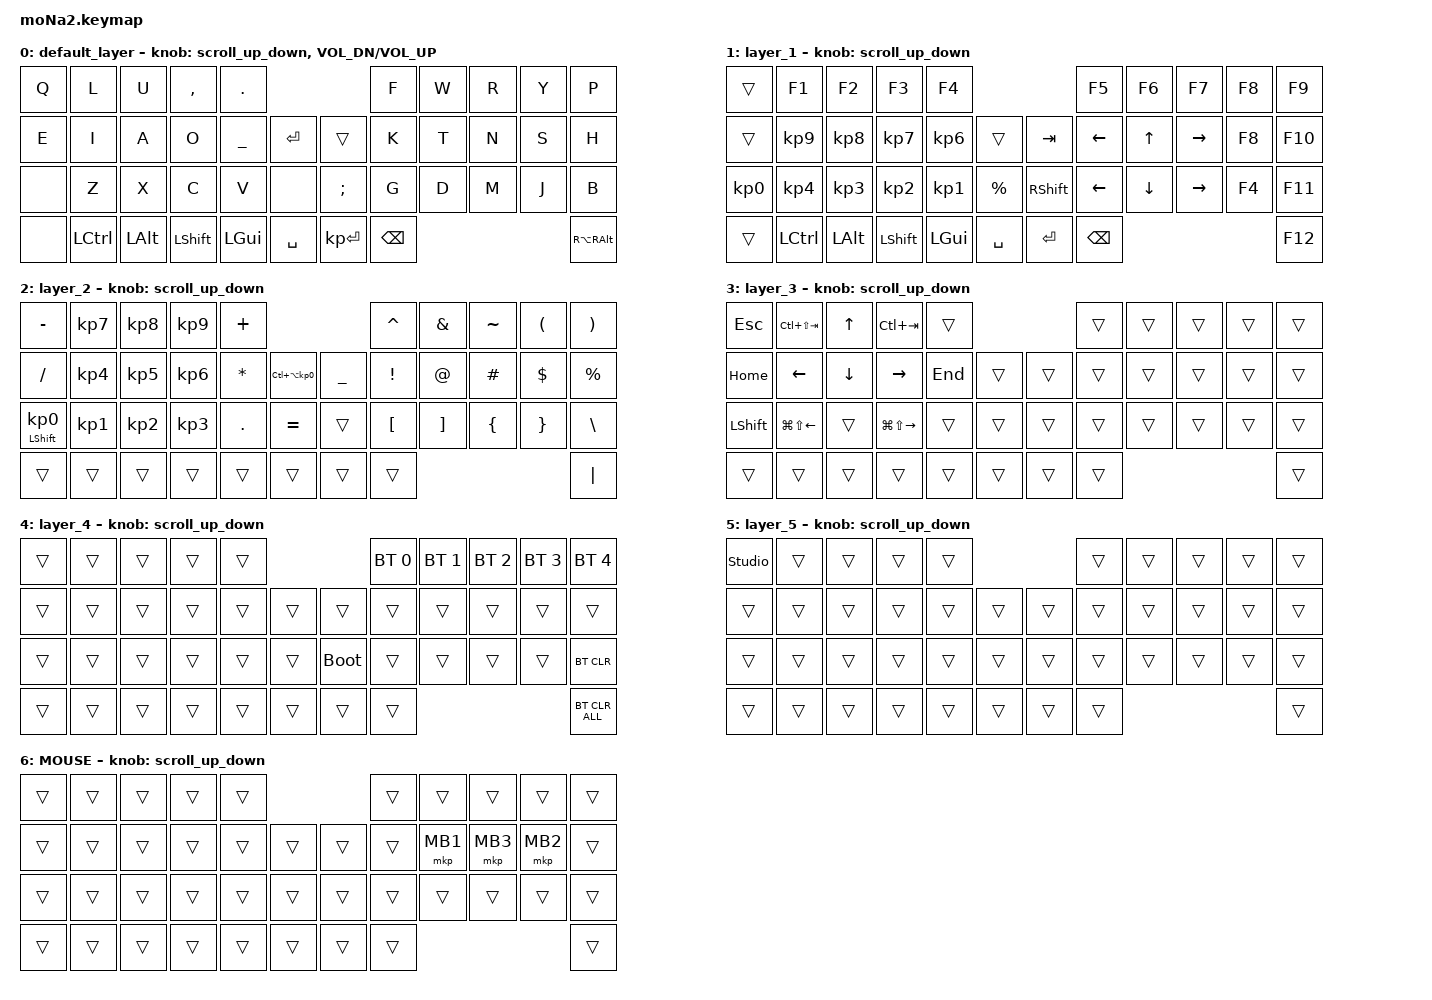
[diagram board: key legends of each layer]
#include <behaviors.dtsi>
#include <dt-bindings/zmk/bt.h>
#include <dt-bindings/zmk/keys.h>
#include <dt-bindings/zmk/pointing.h>
#include <dt-bindings/zmk/pointing.h>

#define ZMK_POINTING_DEFAULT_SCRL_VAL 100
#define MOUSE 6

&mt {
    flavor = "balanced";
    quick-tap-ms = <0>;
};

/ {
    combos { compatible = "zmk,combos"; };

    macros {
        to_layer_0: to_layer_0 {
            compatible = "zmk,behavior-macro-one-param";
            #binding-cells = <1>;
            bindings = <&to 0 &macro_param_1to1 &kp MACRO_PLACEHOLDER>;
            label = "TO_LAYER_0";
        };
    };

    behaviors {
        lt_to_layer_0: lt_to_layer_0 {
            compatible = "zmk,behavior-hold-tap";
            label = "LAYER_TAP_TO_0";
            bindings = <&mo>, <&to_layer_0>;

            #binding-cells = <2>;
            tapping-term-ms = <200>;
        };

        scroll_up_down: behavior_sensor_rotate_mouse_wheel_up_down {
            compatible = "zmk,behavior-sensor-rotate";
            #sensor-binding-cells = <0>;
            bindings = <&msc SCRL_UP>, <&msc SCRL_DOWN>;

            tap-ms = <20>;
        };
    };

    keymap {
        compatible = "zmk,keymap";

        default_layer {
            bindings = <
&kp Q  &kp L      &kp U         &kp COMMA  &kp PERIOD                                 &kp F          &kp W  &kp R  &kp Y  &kp P
&kp E  &kp I      &kp A         &kp O      &kp UNDER     &kp RETURN    &trans         &kp K          &kp T  &kp N  &kp S  &kp H
&none  &kp Z      &kp X         &kp C      &kp V         &none         &kp SEMICOLON  &kp G          &kp D  &kp M  &kp J  &kp B
&none  &kp LCTRL  &kp LEFT_ALT  &kp LSHFT  &kp LEFT_GUI  &kp SPACE     &kp KP_ENTER   &kp BACKSPACE                       &kp RA(RIGHT_ALT)
            >;

            sensor-bindings =
                <&scroll_up_down>,
                <&inc_dec_kp C_VOL_DN C_VOL_UP>;
        };

        layer_1 {
            bindings = <
&trans     &kp F1     &kp F2        &kp F3          &kp F4                                      &kp F5          &kp F6          &kp F7           &kp F8  &kp F9
&trans     &kp KP_N9  &kp KP_N8     &kp KP_N7       &kp KP_N6     &trans       &kp TAB          &kp LEFT        &kp UP_ARROW    &kp RIGHT        &kp F8  &kp F10
&kp KP_N0  &kp KP_N4  &kp KP_N3     &kp KP_N2       &kp KP_N1     &kp PRCNT    &kp RIGHT_SHIFT  &kp LEFT_ARROW  &kp DOWN_ARROW  &kp RIGHT_ARROW  &kp F4  &kp F11
&trans     &kp LCTRL  &kp LEFT_ALT  &kp LEFT_SHIFT  &kp LEFT_GUI  &kp SPACE    &kp ENTER        &kp BACKSPACE                                            &kp F12
            >;

            sensor-bindings = <&scroll_up_down>;
        };

        layer_2 {
            bindings = <
&kp MINUS                   &kp KP_NUMBER_7  &kp KP_NUMBER_8  &kp KP_NUMBER_9  &kp PLUS                                                 &kp CARET         &kp AMPERSAND      &kp TILDE       &kp LEFT_PARENTHESIS  &kp RIGHT_PARENTHESIS
&kp SLASH                   &kp KP_NUMBER_4  &kp KP_NUMBER_5  &kp KP_NUMBER_6  &kp ASTERISK  &kp LC(LA(KP_NUMBER_0))    &kp UNDERSCORE  &kp EXCLAMATION   &kp AT_SIGN        &kp HASH        &kp DOLLAR            &kp PERCENT
&mt LEFT_SHIFT KP_NUMBER_0  &kp KP_NUMBER_1  &kp KP_NUMBER_2  &kp KP_NUMBER_3  &kp PERIOD    &kp EQUAL                  &trans          &kp LEFT_BRACKET  &kp RIGHT_BRACKET  &kp LEFT_BRACE  &kp RIGHT_BRACE       &kp BACKSLASH
&trans                      &trans           &trans           &trans           &trans        &trans                     &trans          &trans                                                                     &kp PIPE
            >;

            sensor-bindings = <&scroll_up_down>;
        };

        layer_3 {
            bindings = <
&kp ESCAPE      &kp LC(LS(TAB))         &kp UP_ARROW    &kp LC(TAB)              &trans                     &trans  &trans  &trans  &trans  &trans
&kp HOME        &kp LEFT_ARROW          &kp DOWN_ARROW  &kp RIGHT_ARROW          &kp END  &trans    &trans  &trans  &trans  &trans  &trans  &trans
&kp LEFT_SHIFT  &kp LG(LS(LEFT_ARROW))  &trans          &kp LG(LS(RIGHT_ARROW))  &trans   &trans    &trans  &trans  &trans  &trans  &trans  &trans
&trans          &trans                  &trans          &trans                   &trans   &trans    &trans  &trans                          &trans
            >;

            sensor-bindings = <&scroll_up_down>;
        };

        layer_4 {
            bindings = <
&trans  &trans  &trans  &trans  &trans                         &bt BT_SEL 0  &bt BT_SEL 1  &bt BT_SEL 2  &bt BT_SEL 3  &bt BT_SEL 4
&trans  &trans  &trans  &trans  &trans  &trans    &trans       &trans        &trans        &trans        &trans        &trans
&trans  &trans  &trans  &trans  &trans  &trans    &bootloader  &trans        &trans        &trans        &trans        &bt BT_CLR
&trans  &trans  &trans  &trans  &trans  &trans    &trans       &trans                                                  &bt BT_CLR_ALL
            >;

            sensor-bindings = <&scroll_up_down>;
        };

        layer_5 {
            bindings = <
&studio_unlock  &trans  &trans  &trans  &trans                    &trans  &trans  &trans  &trans  &trans
&trans          &trans  &trans  &trans  &trans  &trans    &trans  &trans  &trans  &trans  &trans  &trans
&trans          &trans  &trans  &trans  &trans  &trans    &trans  &trans  &trans  &trans  &trans  &trans
&trans          &trans  &trans  &trans  &trans  &trans    &trans  &trans                          &trans
            >;

            sensor-bindings = <&scroll_up_down>;
        };

        MOUSE {
            bindings = <
&trans  &trans  &trans  &trans  &trans                    &trans  &trans    &trans    &trans    &trans
&trans  &trans  &trans  &trans  &trans  &trans    &trans  &trans  &mkp MB1  &mkp MB3  &mkp MB2  &trans
&trans  &trans  &trans  &trans  &trans  &trans    &trans  &trans  &trans    &trans    &trans    &trans
&trans  &trans  &trans  &trans  &trans  &trans    &trans  &trans                                &trans
            >;

            sensor-bindings = <&scroll_up_down>;
        };
    };
};
